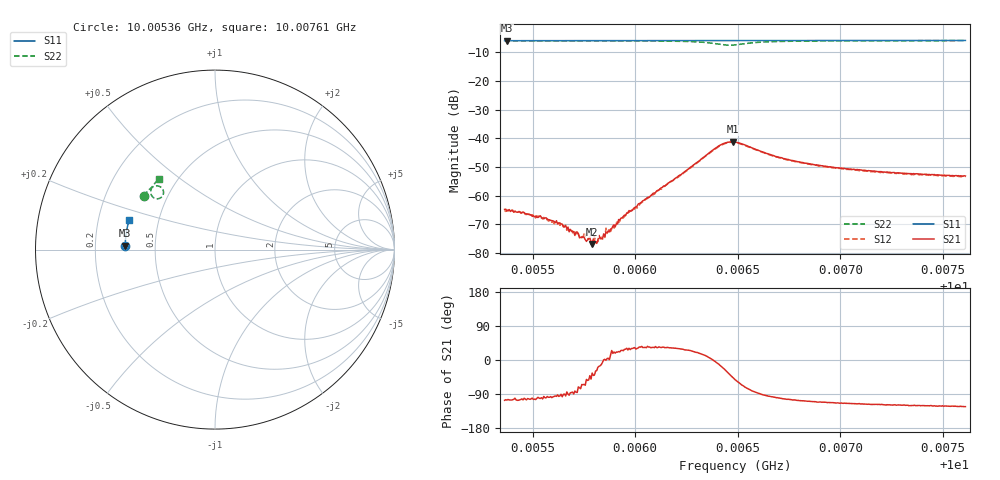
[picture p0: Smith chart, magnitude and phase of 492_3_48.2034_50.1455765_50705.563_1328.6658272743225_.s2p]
#  HZ  S  RI  R  50.00
! Rohde & Schwarz Vector Network Analyzer
! Rohde-Schwarz,ZNB20-2Port,1311601062101988,3.16
! Created: UTC 3/20/2024, 11:58:07 AM
! freq[Hz]  re:S11  im:S11  re:S21  im:S21  re:S12  im:S12  re:S22  im:S22
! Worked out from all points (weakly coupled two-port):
!   401 points, 10.00536 GHz to 10.00761 GHz, reference 50 ohm
!   highest |S21| = -41.24 dB at 10.00648 GHz (marker M1); lowest = -76.8 dB at 10.00579 GHz (marker M2)
!   lowest |S11| = -6.0 dB at 10.00537 GHz (marker M3), VSWR 3.01, Z = 16.6 + j0.944 ohm
!   |S11| at or under -10 dB: nowhere
!   |S22| runs from -7.6 to -6.0 dB; largest |S21 - S12| = 0.00056
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1.0005364e10  -0.5005 0.0207  -0.000161 -0.000551  -0.000108 -0.00054  -0.396 0.2984
1.0005375e10  -0.5004 0.0213  -0.000147 -0.000518  -0.000113 -0.000544  -0.3957 0.299
1.0005532e10  -0.5002 0.0316  -7.89e-05 -0.000422  -6.98e-05 -0.000437  -0.389 0.3085
1.0005627e10  -0.4999 0.0378  -3.55e-05 -0.000333  -2.86e-06 -0.000333  -0.3847 0.3141
1.000574e10  -0.4996 0.0451  7.88e-05 -0.000167  0.000109 -0.000159  -0.3791 0.3211
1.0005762e10  -0.4995 0.0466  0.0001 -0.000124  0.000134 -0.000171  -0.378 0.3224
1.0005785e10  -0.4994 0.0481  9.94e-05 -0.000121  0.000106 -9.25e-05  -0.3766 0.324
1.000579e10  -0.4994 0.0482  0.000119 -8.15e-05  0.000115 -8.85e-05  -0.3763 0.3242
1.0005801e10  -0.4994 0.0491  0.000126 -0.000105  0.000164 -0.000111  -0.3758 0.3251
1.0005841e10  -0.4992 0.0517  0.000177 -1.93e-05  0.000173 2.1e-05  -0.3737 0.3274
1.0005869e10  -0.499 0.0535  0.000236 1.94e-05  0.000244 1.06e-05  -0.372 0.3293
1.0005891e10  -0.499 0.0549  0.000279 8.74e-05  0.000285 6.86e-05  -0.3705 0.3307
1.0005964e10  -0.4986 0.0597  0.000443 0.00022  0.000436 0.000268  -0.3657 0.3355
1.0006116e10  -0.4975 0.0694  0.00103 0.00071  0.00102 0.00075  -0.3527 0.346
1.0006402e10  -0.4943 0.0877  0.00706 -0.00113  0.00692 -0.000776  -0.2882 0.3293
1.0006441e10  -0.494 0.09  0.00734 -0.00391  0.00739 -0.00347  -0.2896 0.3038
1.0006475e10  -0.4938 0.0918  0.00602 -0.00624  0.00623 -0.00573  -0.3057 0.2868
1.0006486e10  -0.4938 0.0926  0.00529 -0.00672  0.00558 -0.00628  -0.3129 0.2842
1.0006694e10  -0.4921 0.1057  -0.000779 -0.00466  -0.000583 -0.00464  -0.3579 0.3269
1.0006862e10  -0.4901 0.1165  -0.00119 -0.00331  -0.000985 -0.00333  -0.3505 0.3482
1.0007238e10  -0.4848 0.1403  -0.0012 -0.00225  -0.00108 -0.00225  -0.3308 0.3749
1.0007609e10  -0.4782 0.1634  -0.0012 -0.00184  -0.00108 -0.00186  -0.3116 0.3938
